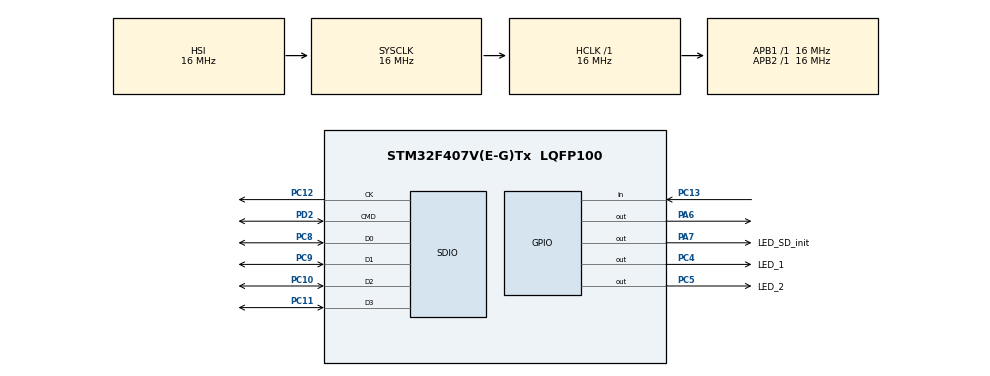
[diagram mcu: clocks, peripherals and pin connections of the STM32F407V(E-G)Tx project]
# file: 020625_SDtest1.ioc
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Dma.Request0=SDIO_RX
Dma.Request1=SDIO_TX
Dma.SDIO_RX.0.Direction=DMA_PERIPH_TO_MEMORY
Dma.SDIO_RX.0.FIFOMode=DMA_FIFOMODE_ENABLE
Dma.SDIO_RX.0.FIFOThreshold=DMA_FIFO_THRESHOLD_FULL
Dma.SDIO_RX.0.Instance=DMA2_Stream3
Dma.SDIO_RX.0.MemBurst=DMA_MBURST_INC4
Dma.SDIO_RX.0.MemDataAlignment=DMA_MDATAALIGN_WORD
Dma.SDIO_RX.0.MemInc=DMA_MINC_ENABLE
Dma.SDIO_RX.0.Mode=DMA_PFCTRL
Dma.SDIO_RX.0.PeriphBurst=DMA_PBURST_INC4
Dma.SDIO_RX.0.PeriphDataAlignment=DMA_PDATAALIGN_WORD
Dma.SDIO_RX.0.PeriphInc=DMA_PINC_DISABLE
Dma.SDIO_RX.0.Priority=DMA_PRIORITY_LOW
Dma.SDIO_TX.1.Direction=DMA_MEMORY_TO_PERIPH
Dma.SDIO_TX.1.FIFOMode=DMA_FIFOMODE_ENABLE
Dma.SDIO_TX.1.FIFOThreshold=DMA_FIFO_THRESHOLD_FULL
Dma.SDIO_TX.1.Instance=DMA2_Stream6
Dma.SDIO_TX.1.MemBurst=DMA_MBURST_INC4
Dma.SDIO_TX.1.MemDataAlignment=DMA_MDATAALIGN_WORD
Dma.SDIO_TX.1.MemInc=DMA_MINC_ENABLE
Dma.SDIO_TX.1.Mode=DMA_PFCTRL
Dma.SDIO_TX.1.PeriphBurst=DMA_PBURST_INC4
Dma.SDIO_TX.1.PeriphDataAlignment=DMA_PDATAALIGN_WORD
Dma.SDIO_TX.1.PeriphInc=DMA_PINC_DISABLE
Dma.SDIO_TX.1.Priority=DMA_PRIORITY_LOW
FATFS.BSP.number=1
FATFS.USE_DMA_CODE_SD=1
FATFS0.BSP.STBoard=false
FATFS0.BSP.api=Unknown
FATFS0.BSP.instance=PC13-ANTI_TAMP
FATFS0.BSP.ip=GPIO
FATFS0.BSP.mode=Input
FATFS0.BSP.name=Detect_SDIO
FATFS0.BSP.solution=PC13-ANTI_TAMP
Mcu.Family=STM32F4
Mcu.Name=STM32F407V(E-G)Tx
Mcu.Package=LQFP100
NVIC.DMA2_Stream3_IRQn=true\:0\:0\:false\:false\:true\:false\:true\:true
NVIC.DMA2_Stream6_IRQn=true\:0\:0\:false\:false\:true\:false\:true\:true
NVIC.PriorityGroup=NVIC_PRIORITYGROUP_4
NVIC.SDIO_IRQn=true\:0\:0\:false\:false\:true\:true\:true\:true
PA6.Signal=GPIO_Output
PA7.GPIO_Label=LED_SD_init
PA7.Signal=GPIO_Output
PC10.Mode=SD_4_bits_Wide_bus
PC10.Signal=SDIO_D2
PC11.Mode=SD_4_bits_Wide_bus
PC11.Signal=SDIO_D3
PC12.Mode=SD_4_bits_Wide_bus
PC12.Signal=SDIO_CK
PC13-ANTI_TAMP.GPIO_PuPd=GPIO_PULLUP
PC13-ANTI_TAMP.Signal=GPIO_Input
PC4.GPIO_Label=LED_1
PC4.Signal=GPIO_Output
PC5.GPIO_Label=LED_2
PC5.Signal=GPIO_Output
PC8.Mode=SD_4_bits_Wide_bus
PC8.Signal=SDIO_D0
PC9.Mode=SD_4_bits_Wide_bus
PC9.Signal=SDIO_D1
PD2.Mode=SD_4_bits_Wide_bus
PD2.Signal=SDIO_CMD
ProjectManager.HeapSize=0x400
ProjectManager.StackSize=0x800
ProjectManager.TargetToolchain=STM32CubeIDE
RCC.AHBFreq_Value=16000000
RCC.APB1Freq_Value=16000000
RCC.APB2Freq_Value=16000000
RCC.CortexFreq_Value=16000000
RCC.HSE_VALUE=25000000
RCC.HSI_VALUE=16000000
RCC.LSE_VALUE=32768
RCC.SYSCLKFreq_VALUE=16000000
RCC.VCOOutputFreq_Value=192000000
VP_FATFS_VS_SDIO.Mode=SDIO
board=custom

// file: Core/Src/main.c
/* USER CODE BEGIN Header */
/**
  ******************************************************************************
  * @file           : main.c
  * @brief          : Main program body
  ******************************************************************************
  * @attention
  *
  * Copyright (c) 2025 STMicroelectronics.
  * All rights reserved.
  *
  * This software is licensed under terms that can be found in the LICENSE file
  * in the root directory of this software component.
  * If no LICENSE file comes with this software, it is provided AS-IS.
  *
  ******************************************************************************
  */
/* USER CODE END Header */
#include "main.h"
#include "fatfs.h"

SD_HandleTypeDef hsd;
DMA_HandleTypeDef hdma_sdio_rx;
DMA_HandleTypeDef hdma_sdio_tx;

/* USER CODE BEGIN PV */
FATFS fs;     // File system object
FRESULT res;  // FatFs function common return code
/* USER CODE END PV */

void SystemClock_Config(void);
static void MX_GPIO_Init(void);
static void MX_DMA_Init(void);
static void MX_SDIO_SD_Init(void);

int main(void)
{

  /* MCU Configuration--------------------------------------------------------*/

  /* Reset of all peripherals, Initializes the Flash interface and the Systick. */
  HAL_Init();

  /* Configure the system clock */
  SystemClock_Config();

  /* Initialize all configured peripherals */
  MX_GPIO_Init();
  MX_DMA_Init();
  MX_SDIO_SD_Init();
  MX_FATFS_Init();
  /* USER CODE BEGIN 2 */
  // Try to mount SD card

    res = f_mount(&fs, "", 1);
    HAL_GPIO_WritePin(GPIOA, GPIO_PIN_6, GPIO_PIN_SET); // SET is LOW for on board LEDs
    HAL_GPIO_WritePin(GPIOA, GPIO_PIN_7, GPIO_PIN_SET);

    if (res != FR_OK) //this might be delaying program. Hardcoded values not working
    {
//    	for(int i=0;i<15;i++){
//    	      // SD card mount failed – blink every 2sec (PA7 = 0)
//    		printf("SD card failed to mount");
//    	      HAL_GPIO_TogglePin(LED_SD_init_GPIO_Port, LED_SD_init_Pin);
//    	      HAL_Delay(1000);
//    	}
//    	printf("SD card failed to mount");
    	HAL_GPIO_WritePin(LED_SD_init_GPIO_Port, LED_SD_init_Pin, GPIO_PIN_RESET); // reset sets to high
    	HAL_GPIO_WritePin(LED_1_GPIO_Port, LED_1_Pin, GPIO_PIN_SET); // PC4 - red LED - didn't work
    }
    else
    {
//    	for(int i=0;i<50;i++){
//    		printf("SD sucksexfully mounted");
//		  // SD card mount success – blink every 5sec (PA7 = 1)
//		  HAL_GPIO_TogglePin(LED_SD_init_GPIO_Port, LED_SD_init_Pin);
//		  HAL_Delay(100);
//    	}
//    	printf("SD card sucksexfully initialized");
    	HAL_GPIO_WritePin(GPIOA, GPIO_PIN_6, GPIO_PIN_RESET); // RESET is HIGH (but only for LEDs on the board)
    	HAL_GPIO_WritePin(LED_2_GPIO_Port,LED_2_Pin,GPIO_PIN_SET); // PC5 - green LED - worked
    }

//    HAL_GPIO_TogglePin(GPIOA, GPIO_Pin_7);
//    HAL_Delay(500);
//    HAL_GPIO_WritePin(LED_SD_init_GPIO_Port, LED_SD_init_Pin, GPIO_PIN_RESET);

  /* USER CODE END 2 */

  /* Infinite loop */
  /* USER CODE BEGIN WHILE */
  while (1)

  {
	  if (res == FR_OK){
		  HAL_GPIO_TogglePin(LED_2_GPIO_Port, LED_2_Pin);
		  HAL_Delay(1000);
	  }
//	  HAL_GPIO_WritePin(GPIOA, GPIO_PIN_6, GPIO_PIN_SET); // SET is LOW for some reason
//	  HAL_GPIO_TogglePin(GPIOA,GPIO_PIN_7);
//	  HAL_Delay(1000);
    /* USER CODE END WHILE */

  }
}

void SystemClock_Config(void)
{
  RCC_OscInitTypeDef RCC_OscInitStruct = {0};
  RCC_ClkInitTypeDef RCC_ClkInitStruct = {0};

  /** Configure the main internal regulator output voltage
  */
  __HAL_RCC_PWR_CLK_ENABLE();
  __HAL_PWR_VOLTAGESCALING_CONFIG(PWR_REGULATOR_VOLTAGE_SCALE1);

  /** Initializes the RCC Oscillators according to the specified parameters
  * in the RCC_OscInitTypeDef structure.
  */
  RCC_OscInitStruct.OscillatorType = RCC_OSCILLATORTYPE_HSI;
  RCC_OscInitStruct.HSIState = RCC_HSI_ON;
  RCC_OscInitStruct.HSICalibrationValue = RCC_HSICALIBRATION_DEFAULT;
  RCC_OscInitStruct.PLL.PLLState = RCC_PLL_ON;
  RCC_OscInitStruct.PLL.PLLSource = RCC_PLLSOURCE_HSI;
  RCC_OscInitStruct.PLL.PLLM = 16;
  RCC_OscInitStruct.PLL.PLLN = 192;
  RCC_OscInitStruct.PLL.PLLP = RCC_PLLP_DIV2;
  RCC_OscInitStruct.PLL.PLLQ = 4;
  if (HAL_RCC_OscConfig(&RCC_OscInitStruct) != HAL_OK)
  {
    Error_Handler();
  }

  /** Initializes the CPU, AHB and APB buses clocks
  */
  RCC_ClkInitStruct.ClockType = RCC_CLOCKTYPE_HCLK|RCC_CLOCKTYPE_SYSCLK
                              |RCC_CLOCKTYPE_PCLK1|RCC_CLOCKTYPE_PCLK2;
  RCC_ClkInitStruct.SYSCLKSource = RCC_SYSCLKSOURCE_HSI;
  RCC_ClkInitStruct.AHBCLKDivider = RCC_SYSCLK_DIV1;
  RCC_ClkInitStruct.APB1CLKDivider = RCC_HCLK_DIV1;
  RCC_ClkInitStruct.APB2CLKDivider = RCC_HCLK_DIV1;

  if (HAL_RCC_ClockConfig(&RCC_ClkInitStruct, FLASH_LATENCY_0) != HAL_OK)
  {
    Error_Handler();
  }
}

static void MX_SDIO_SD_Init(void)
{

  hsd.Instance = SDIO;
  hsd.Init.ClockEdge = SDIO_CLOCK_EDGE_RISING;
  hsd.Init.ClockBypass = SDIO_CLOCK_BYPASS_DISABLE;
  hsd.Init.ClockPowerSave = SDIO_CLOCK_POWER_SAVE_DISABLE;
  hsd.Init.BusWide = SDIO_BUS_WIDE_4B;
  hsd.Init.HardwareFlowControl = SDIO_HARDWARE_FLOW_CONTROL_DISABLE;
  hsd.Init.ClockDiv = 2;
  /* USER CODE BEGIN SDIO_Init 2 */
  hsd.Init.BusWide = SDIO_BUS_WIDE_1B;
  if (HAL_SD_Init(&hsd) != HAL_OK)

  {

	Error_Handler();
  }

  if (HAL_SD_ConfigWideBusOperation(&hsd, SDIO_BUS_WIDE_4B) != HAL_OK)

  {

    Error_Handler();
  }
  /* USER CODE END SDIO_Init 2 */

}

static void MX_DMA_Init(void)
{

  /* DMA controller clock enable */
  __HAL_RCC_DMA2_CLK_ENABLE();

  /* DMA interrupt init */
  /* DMA2_Stream3_IRQn interrupt configuration */
  HAL_NVIC_SetPriority(DMA2_Stream3_IRQn, 0, 0);
  HAL_NVIC_EnableIRQ(DMA2_Stream3_IRQn);
  /* DMA2_Stream6_IRQn interrupt configuration */
  HAL_NVIC_SetPriority(DMA2_Stream6_IRQn, 0, 0);
  HAL_NVIC_EnableIRQ(DMA2_Stream6_IRQn);

}

static void MX_GPIO_Init(void)
{
  GPIO_InitTypeDef GPIO_InitStruct = {0};

  /* GPIO Ports Clock Enable */
  __HAL_RCC_GPIOC_CLK_ENABLE();
  __HAL_RCC_GPIOA_CLK_ENABLE();
  __HAL_RCC_GPIOD_CLK_ENABLE();

  /*Configure GPIO pin Output Level */
  HAL_GPIO_WritePin(GPIOA, GPIO_PIN_6|LED_SD_init_Pin, GPIO_PIN_RESET);

  /*Configure GPIO pin Output Level */
  HAL_GPIO_WritePin(GPIOC, LED_1_Pin|LED_2_Pin, GPIO_PIN_RESET);

  /*Configure GPIO pin : PC13 */
  GPIO_InitStruct.Pin = GPIO_PIN_13;
  GPIO_InitStruct.Mode = GPIO_MODE_INPUT;
  GPIO_InitStruct.Pull = GPIO_PULLUP;
  HAL_GPIO_Init(GPIOC, &GPIO_InitStruct);

  /*Configure GPIO pins : PA6 LED_SD_init_Pin */
  GPIO_InitStruct.Pin = GPIO_PIN_6|LED_SD_init_Pin;
  GPIO_InitStruct.Mode = GPIO_MODE_OUTPUT_PP;
  GPIO_InitStruct.Pull = GPIO_NOPULL;
  GPIO_InitStruct.Speed = GPIO_SPEED_FREQ_LOW;
  HAL_GPIO_Init(GPIOA, &GPIO_InitStruct);

  /*Configure GPIO pins : LED_1_Pin LED_2_Pin */
  GPIO_InitStruct.Pin = LED_1_Pin|LED_2_Pin;
  GPIO_InitStruct.Mode = GPIO_MODE_OUTPUT_PP;
  GPIO_InitStruct.Pull = GPIO_NOPULL;
  GPIO_InitStruct.Speed = GPIO_SPEED_FREQ_LOW;
  HAL_GPIO_Init(GPIOC, &GPIO_InitStruct);

}

void Error_Handler(void)
{
  __disable_irq();
  while (1)
  {
  }
}
